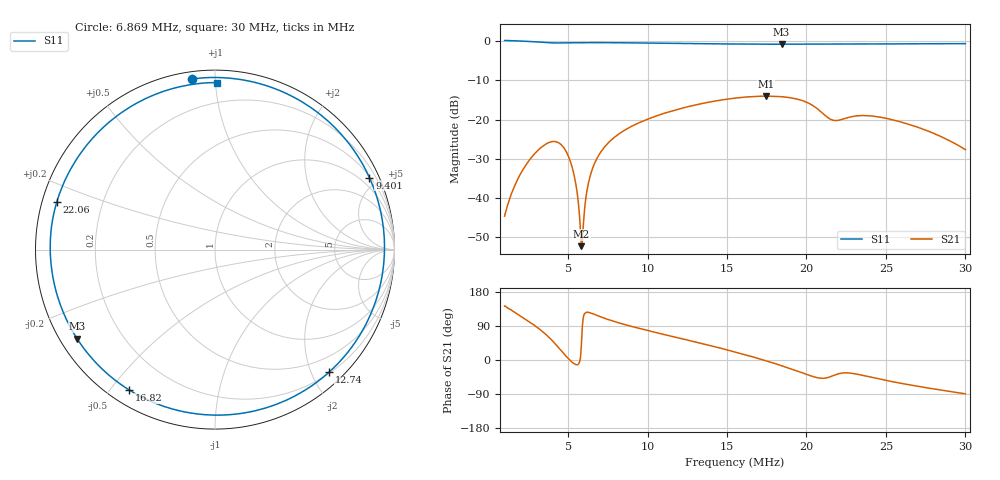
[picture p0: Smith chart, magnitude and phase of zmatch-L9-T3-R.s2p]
# HZ S RI R 50
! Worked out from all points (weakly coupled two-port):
!   505 points, 1 MHz to 30 MHz, reference 50 ohm
!   highest |S21| = -14.00 dB at 17.46 MHz (marker M1); lowest = -52.2 dB at 5.833 MHz (marker M2)
!   lowest |S11| = -0.8 dB at 18.43 MHz (marker M3), VSWR 22.41, Z = 2.42 - j14.7 ohm
!   |S11| at or under -10 dB: nowhere
!   S12 and S22 are empty: the file has one direction only
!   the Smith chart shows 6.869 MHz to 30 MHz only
!   S11 on the Smith chart (normalised r, x): 6.869 MHz: 0.04, +0.87; 9.401 MHz: 0.55, +4.45; 12.74 MHz: 0.22, -2.28; 16.82 MHz: 0.06, -0.56; 22.06 MHz: 0.04, +0.15; 30 MHz: 0.07, +1.01
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1000000  -0.6242 0.8086  -0.00466 0.00361  0 0  0 0
2208340  0.3625 0.9322  -0.00829 0.0226  0 0  0 0
3186520  0.9729 0.0345  0.00607 0.0418  0 0  0 0
3646840  0.7378 -0.613  0.0206 0.0451  0 0  0 0
4222240  -0.1264 -0.941  0.0395 0.0344  0 0  0 0
4970260  -0.9181 -0.2563  0.0356 0.00344  0 0  0 0
5430580  -0.9209 0.2612  0.0169 -0.0033  0 0  0 0
5833360  -0.753 0.5942  0.00185 0.00159  0 0  0 0
6293680  -0.4839 0.8292  -0.00937 0.0132  0 0  0 0
6869080  -0.1296 0.9508  -0.0151 0.0302  0 0  0 0
8134960  0.5076 0.8089  -0.00961 0.0638  0 0  0 0
9400840  0.8603 0.4013  0.00931 0.0898  0 0  0 0
1.066672e7  0.941 -0.0673  0.0372 0.1074  0 0  0 0
1.273816e7  0.6355 -0.6826  0.0954 0.1152  0 0  0 0
1.550008e7  -0.1402 -0.9096  0.1753 0.068  0 0  0 0
1.68235e7  -0.4787 -0.7817  0.197 0.0199  0 0  0 0
1.745644e7  -0.6106 -0.6822  0.1994 -0.0073  0 0  0 0
1.843462e7  -0.7682 -0.4963  0.1894 -0.0507  0 0  0 0
2.033344e7  -0.9125 -0.0893  0.1133 -0.1045  0 0  0 0
2.205964e7  -0.8818 0.2641  0.0801 -0.0577  0 0  0 0
2.51668e7  -0.5892 0.7109  0.0584 -0.084  0 0  0 0
3.000016e7  0.00934 0.9306  0.000503 -0.0413  0 0  0 0
